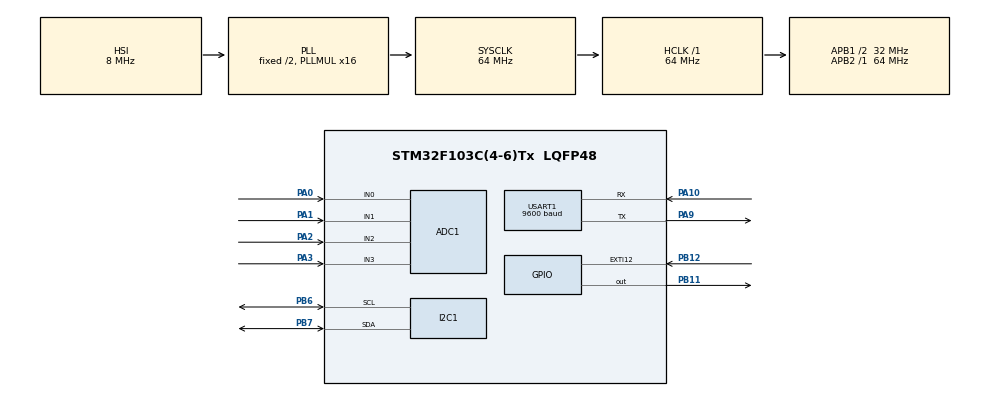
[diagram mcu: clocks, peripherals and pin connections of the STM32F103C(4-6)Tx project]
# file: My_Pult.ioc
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ADC1.Channel-4\#ChannelRegularConversion=ADC_CHANNEL_0
ADC1.Channel-5\#ChannelRegularConversion=ADC_CHANNEL_1
ADC1.Channel-6\#ChannelRegularConversion=ADC_CHANNEL_2
ADC1.Channel-7\#ChannelRegularConversion=ADC_CHANNEL_3
ADC1.ContinuousConvMode=DISABLE
ADC1.EnableAnalogWatchDog=false
ADC1.EnableRegularConversion=ENABLE
ADC1.ExternalTrigConv=ADC_SOFTWARE_START
ADC1.NbrOfConversion=4
ADC1.NbrOfConversionFlag=1
ADC1.Rank-4\#ChannelRegularConversion=1
ADC1.Rank-5\#ChannelRegularConversion=2
ADC1.Rank-6\#ChannelRegularConversion=3
ADC1.Rank-7\#ChannelRegularConversion=4
ADC1.SamplingTime-4\#ChannelRegularConversion=ADC_SAMPLETIME_55CYCLES_5
ADC1.SamplingTime-5\#ChannelRegularConversion=ADC_SAMPLETIME_55CYCLES_5
ADC1.SamplingTime-6\#ChannelRegularConversion=ADC_SAMPLETIME_55CYCLES_5
ADC1.SamplingTime-7\#ChannelRegularConversion=ADC_SAMPLETIME_55CYCLES_5
ADC1.master=1
Dma.ADC1.0.Direction=DMA_PERIPH_TO_MEMORY
Dma.ADC1.0.Instance=DMA1_Channel1
Dma.ADC1.0.MemDataAlignment=DMA_MDATAALIGN_HALFWORD
Dma.ADC1.0.MemInc=DMA_MINC_ENABLE
Dma.ADC1.0.Mode=DMA_NORMAL
Dma.ADC1.0.PeriphDataAlignment=DMA_PDATAALIGN_HALFWORD
Dma.ADC1.0.PeriphInc=DMA_PINC_DISABLE
Dma.ADC1.0.Priority=DMA_PRIORITY_LOW
Dma.Request0=ADC1
Dma.Request1=USART1_RX
Dma.Request2=USART1_TX
Dma.USART1_RX.1.Direction=DMA_PERIPH_TO_MEMORY
Dma.USART1_RX.1.Instance=DMA1_Channel5
Dma.USART1_RX.1.MemDataAlignment=DMA_MDATAALIGN_BYTE
Dma.USART1_RX.1.MemInc=DMA_MINC_ENABLE
Dma.USART1_RX.1.Mode=DMA_NORMAL
Dma.USART1_RX.1.PeriphDataAlignment=DMA_PDATAALIGN_BYTE
Dma.USART1_RX.1.PeriphInc=DMA_PINC_DISABLE
Dma.USART1_RX.1.Priority=DMA_PRIORITY_LOW
Dma.USART1_TX.2.Direction=DMA_MEMORY_TO_PERIPH
Dma.USART1_TX.2.Instance=DMA1_Channel4
Dma.USART1_TX.2.MemDataAlignment=DMA_MDATAALIGN_BYTE
Dma.USART1_TX.2.MemInc=DMA_MINC_ENABLE
Dma.USART1_TX.2.Mode=DMA_NORMAL
Dma.USART1_TX.2.PeriphDataAlignment=DMA_PDATAALIGN_BYTE
Dma.USART1_TX.2.PeriphInc=DMA_PINC_DISABLE
Dma.USART1_TX.2.Priority=DMA_PRIORITY_LOW
I2C1.I2C_Mode=I2C_Fast
Mcu.Family=STM32F1
Mcu.Name=STM32F103C(4-6)Tx
Mcu.Package=LQFP48
NVIC.DMA1_Channel1_IRQn=true\:0\:0\:true\:false\:true\:false\:true
NVIC.DMA1_Channel4_IRQn=true\:0\:0\:false\:false\:true\:false\:true
NVIC.DMA1_Channel5_IRQn=true\:0\:0\:false\:false\:true\:false\:true
NVIC.EXTI15_10_IRQn=true\:0\:0\:false\:false\:true\:true\:true
NVIC.PriorityGroup=NVIC_PRIORITYGROUP_4
NVIC.TIM3_IRQn=true\:0\:0\:true\:false\:true\:true\:true
NVIC.USART1_IRQn=true\:5\:0\:true\:false\:true\:true\:true
PA0-WKUP.Signal=ADCx_IN0
PA1.Signal=ADCx_IN1
PA10.Mode=Asynchronous
PA10.Signal=USART1_RX
PA13.Mode=Serial_Wire
PA13.Signal=SYS_JTMS-SWDIO
PA14.Mode=Serial_Wire
PA14.Signal=SYS_JTCK-SWCLK
PA2.Signal=ADCx_IN2
PA3.Signal=ADCx_IN3
PA9.Mode=Asynchronous
PA9.Signal=USART1_TX
PB11.GPIO_ModeDefaultOutputPP=GPIO_MODE_OUTPUT_PP
PB11.GPIO_PuPd=GPIO_PULLUP
PB11.PinState=GPIO_PIN_SET
PB11.Signal=GPIO_Output
PB12.GPIO_ModeDefaultEXTI=GPIO_MODE_IT_FALLING
PB12.GPIO_PuPd=GPIO_PULLUP
PB12.Signal=GPXTI12
PB6.Mode=I2C
PB6.Signal=I2C1_SCL
PB7.Mode=I2C
PB7.Signal=I2C1_SDA
ProjectManager.HeapSize=0x200
ProjectManager.StackSize=0x400
ProjectManager.TargetToolchain=STM32CubeIDE
RCC.ADCPresc=RCC_ADCPCLK2_DIV8
RCC.AHBFreq_Value=64000000
RCC.APB1CLKDivider=RCC_HCLK_DIV2
RCC.APB1Freq_Value=32000000
RCC.APB1TimFreq_Value=64000000
RCC.APB2Freq_Value=64000000
RCC.APB2TimFreq_Value=64000000
RCC.HCLKFreq_Value=64000000
RCC.PLLMUL=RCC_PLL_MUL16
RCC.SYSCLKFreq_VALUE=64000000
RCC.SYSCLKSource=RCC_SYSCLKSOURCE_PLLCLK
RCC.USBFreq_Value=64000000
SH.ADCx_IN0.0=ADC1_IN0,IN0
SH.ADCx_IN1.0=ADC1_IN1,IN1
SH.ADCx_IN2.0=ADC1_IN2,IN2
SH.ADCx_IN3.0=ADC1_IN3,IN3
TIM3.Period=100
TIM3.Prescaler=64000
TIM3.TIM_MasterOutputTrigger=TIM_TRGO_UPDATE
USART1.BaudRate=9600
USART1.VirtualMode=VM_ASYNC
VP_CRC_VS_CRC.Mode=CRC_Activate
VP_TIM3_VS_ClockSourceINT.Mode=Internal
board=custom

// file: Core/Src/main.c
/* USER CODE BEGIN Header */
/**
 ******************************************************************************
 * @file           : main.c
 * @brief          : Main program body
 ******************************************************************************
 * @attention
 *
 * <h2><center>&copy; Copyright (c) 2022 STMicroelectronics.
 * All rights reserved.</center></h2>
 *
 * This software component is licensed by ST under BSD 3-Clause license,
 * the "License"; You may not use this file except in compliance with the
 * License. You may obtain a copy of the License at:
 *                        opensource.org/licenses/BSD-3-Clause
 *
 ******************************************************************************
 */
/* USER CODE END Header */
#include "main.h"
#include "adc.h"
#include "crc.h"
#include "dma.h"
#include "i2c.h"
#include "tim.h"
#include "usart.h"
#include "gpio.h"

/* USER CODE BEGIN PD */
#define max_adc 4095

#define adress_master_device 0x20
#define adress_pult 0x20
#define adress_uaz 0x40
#define adress_ship 0x60
#define adress_WG_golf 0x80

#define adress_ADC 0x96
#define adress_Display 0xA0
#define adress_hc_12 0xAA
#define adress_LED 0xB4
#define adress_engine 0xBE
#define adress_Servo 0xC8

#define adress_slave_index 0
#define adress_master_index 1
#define crc_adress_devices 2
#define end_array_index 50

/* USER CODE END PD */

void SystemClock_Config(void);

/* USER CODE BEGIN 0 */
uint8_t transmitBuff[end_array_index] = { };
uint8_t reciveBuff[end_array_index] = { };
uint8_t adress_slave_device = 0;
uint16_t SticPosADC[4] = { };
uint8_t position[4] = { };
//position [0] - лев. стик, вертикаль,
//[1] - направление движенияпо вертикали, 0 стоим на месте, 1- вперед,  2 назад.
//[2] - правый стик, горизонталь.
//[3] - направление поворота руля, 0 среднее положение (прямо), 1 направо, 2 налево.

uint8_t LED_Arr[8][3] = { { 0, 0, 0 },    	//Черный:)
		{ 250, 250, 250 },  //Белый
		{ 250, 0, 250 },  	//Розовый
		{ 250, 0, 0 },    	//Красный
		{ 250, 250, 0 }, 	 //Желтый
		{ 0, 250, 0 },   	 //Зеленый
		{ 0, 250, 250 }, 	 //Аква
		{ 0, 0, 250 } };  	 //Синий

struct {
	volatile uint8_t timerEvent;
	volatile uint8_t adcDone;
	volatile uint8_t dataReady;
	volatile uint8_t rxReady;
	volatile uint8_t txReady;
	volatile uint8_t txSize;
	volatile uint8_t rxSize;
	volatile uint8_t contact;
	volatile uint8_t counterError;
	volatile uint8_t Led;
	volatile uint8_t LedColorChange;
	volatile uint8_t indexTransmitLed;

} flagEvent;

volatile uint8_t flag_irq = 0;
volatile uint32_t time_irq = 0;  //дребезг

uint8_t crc(uint8_t *pData, uint8_t size) {
	uint16_t crc = 0;
	for (uint8_t i = 0; i < size; i++) {
		crc = crc + (pData[i] * 44111);
	}
	return (uint8_t) crc;

}

void transmit(void) {
	flagEvent.dataReady = 1;
}

void cleanTxArr(uint8_t adress_slave_device) {
	for (uint8_t i = 0; i < end_array_index; i++) {
		transmitBuff[i] = 0xFF; // код стоп байта
	}
	transmitBuff[adress_slave_index] = adress_slave_device;
	transmitBuff[adress_master_index] = adress_master_device;

	transmitBuff[crc_adress_devices] = crc(transmitBuff, 2);    //crc коментарий для примера комита

}

void clearRxBuff(void) {
	for (uint8_t i = 0; i < end_array_index; i++) {
		reciveBuff[i] = 0xFF; // код стоп байта
	}
}

void initPult(void) {
	flagEvent.timerEvent = 0;
	flagEvent.adcDone = 0;
	flagEvent.dataReady = 0;
	flagEvent.rxReady = 0;
	flagEvent.txReady = 0;
	flagEvent.rxSize = 0;
	flagEvent.contact = 0;
	flagEvent.counterError = 0;
	flagEvent.Led = 0;
	flagEvent.txSize = 0;
	flagEvent.LedColorChange = 0;
	flagEvent.indexTransmitLed = 0;

	HAL_ADCEx_Calibration_Start(&hadc1);			// калибровка ацп

	//HAL_UART_Receive_DMA(&huart1, reciveBuff, 5);
	HAL_UARTEx_ReceiveToIdle_DMA(&huart1, reciveBuff, sizeof(reciveBuff));
}

void updateTimerEvent(void) {
	HAL_ADC_Start_DMA(&hadc1, (uint32_t*) SticPosADC, 4);
}

void normalizeSticValue(void) {

	/////////////////////////////////////////////////////////////////////// Вперед
	if (SticPosADC[1] < 700) {
		position[0] = 100;
		position[1] = 1;
	}
	if (SticPosADC[1] < 1400 && SticPosADC[1] > 700) {
		position[0] = 65;
		position[1] = 1;
	}

	if (SticPosADC[1] < 1800 && SticPosADC[1] > 1400) {
		position[0] = 30;
		position[1] = 1;
	}

	////////////////////////////////////////////////////////////////////////////////// назад

	if (SticPosADC[1] > 2200) {
		position[0] = 50;
		position[1] = 2;
	}

	/////////////////////////////////////////////////////////////////////////////////////// на месте

	if (SticPosADC[1] > 1800 && SticPosADC[1] < 2200) {
		position[0] = 0;
		position[1] = 0;
	}
	///////////////////////////////////////////////////////////////////////////////

	/////////////////////////////////////////////////////////////////////// Направо
	if (SticPosADC[2] < 700) {
		position[2] = 75;
		position[3] = 1;
	}
	if (SticPosADC[2] < 1400 && SticPosADC[2] > 700) {
		position[2] = 50;
		position[3] = 1;
	}

	if (SticPosADC[2] < 1800 && SticPosADC[2] > 1400) {
		position[2] = 20;
		position[3] = 1;
	}

	////////////////////////////////////////////////////////////////////////////////// НАлево

	if (SticPosADC[2] > 2200 && SticPosADC[2] < 3100) {
		position[2] = 20;
		position[3] = 2;
	}

	if (SticPosADC[2] > 3100 && SticPosADC[2] < 3800) {
		position[2] = 65;
		position[3] = 2;
	}

	if (SticPosADC[2] > 3800) {
		position[2] = 100;
		position[3] = 2;
	}

	/////////////////////////////////////////////////////////////////////////////////////// на месте

	if (SticPosADC[2] > 1800 && SticPosADC[2] < 2200) {
		position[2] = 0;
		position[3] = 0;
	}
	////////////////////////////////////////////////////////////////////////////////////////

}

uint8_t pushArrTX(uint8_t addres_module, uint8_t *pData, uint8_t size,
		uint8_t typeOperation) {
	uint8_t i = 0;
	while (transmitBuff[i] != 0xFF) { // найти конец полезных данных, не выходя за пределы массива.
		if (i < (end_array_index - (size + 5))) { //5 = адрес модуля, тип операции, crc, байт конца команды, стоп.
			i++;
		} else {
			return 1;
		}
	}
	if (i != 3) {
		i--;
	}
	transmitBuff[i] = addres_module;
	i++;
	transmitBuff[i] = typeOperation;
	i++;

	for (uint8_t index = i; index < (i + size); index++) {
		transmitBuff[index] = pData[index - i];
	}

	transmitBuff[i + size] = crc(transmitBuff + (i - 2), size + 2); // crc адреса и команды   2 = смещение назад для адреса модуля и типа команды.
	transmitBuff[i + size + 1] = 0xFC;  // конец команды
	transmitBuff[i + size + 2] = crc(transmitBuff, i + size + 2); // хеш отправки

	transmitBuff[i + size + 3] = 0xFF;  // стоп байт

	i = i + (size + 3) + 1;
	return i;

}

void connect_ok(void) {
	uint8_t ok = 0xc8;
	flagEvent.txSize = pushArrTX(adress_hc_12, &ok, 1, 1); // можно пересылать настройки, которые были сделаны на пульте до коннекта слейва.
	transmit();

}

void parseArrRX(uint8_t *pData, uint8_t size) {

	if (reciveBuff[flagEvent.rxSize - 2]
			== crc(reciveBuff, flagEvent.rxSize - 2)) {   //хеш сумма совпала
		if (flagEvent.contact == 0) { //если это приветствие
			if (reciveBuff[3] == adress_hc_12) {
				if (reciveBuff[5] == 0xc8) {
					adress_slave_device = reciveBuff[0];
					flagEvent.contact = 1;
					__HAL_TIM_CLEAR_FLAG(&htim3, TIM_SR_UIF); 	// очищаем флаг
					HAL_TIM_Base_Start_IT(&htim3); 		//Включаем прерывание
					cleanTxArr(adress_slave_device);
					connect_ok();
				}
			}
		}

		if (flagEvent.contact == 1) {					//если уже поздоровались
			if (reciveBuff[3] != 0x64) {//если слейв сообщил о принятии битого хеша
				flagEvent.counterError++;
			}
		}
	}

	if (reciveBuff[flagEvent.rxSize - 2]
			!= crc(reciveBuff, flagEvent.rxSize - 2)) {
	}   //хеш сумма не совпала

}

/* USER CODE END 0 */

int main(void) {

	/* MCU Configuration--------------------------------------------------------*/

	/* Reset of all peripherals, Initializes the Flash interface and the Systick. */
	HAL_Init();

	/* Configure the system clock */
	SystemClock_Config();

	/* Initialize all configured peripherals */
	MX_GPIO_Init();
	MX_DMA_Init();
	MX_ADC1_Init();
	MX_I2C1_Init();
	MX_USART1_UART_Init();
	MX_TIM3_Init();
	MX_CRC_Init();
	/* USER CODE BEGIN 2 */
	initPult();

	/* USER CODE END 2 */

	/* Infinite loop */
	while (1) {

		/* USER CODE BEGIN 3 */
		//if (flagEvent.LedColorChange == 1) {
		//	flagEvent.LedColorChange = 0;
		//}
		if (flagEvent.rxReady == 1) {
			flagEvent.rxReady = 0;
			parseArrRX(reciveBuff, flagEvent.rxSize);
			clearRxBuff();
			HAL_UARTEx_ReceiveToIdle_DMA(&huart1, reciveBuff,
					sizeof(reciveBuff));
		}

		if (flagEvent.timerEvent == 1) {
			flagEvent.timerEvent = 0;
			updateTimerEvent();
		}

		if (flagEvent.adcDone == 1) {
			flagEvent.adcDone = 0;
			normalizeSticValue();
			flagEvent.txSize = pushArrTX(adress_engine, position, 2, 1); // заполнили массив данными для отправки
			flagEvent.txSize = pushArrTX(adress_Servo, position + 0x02, 2, 1);
			flagEvent.txSize = pushArrTX(adress_LED, LED_Arr[flagEvent.Led], 3,
					1);
			flagEvent.dataReady = 1;
		}

		if (flagEvent.dataReady == 1) {
			flagEvent.dataReady = 0;
			HAL_UART_Transmit(&huart1, transmitBuff, flagEvent.txSize, 100); // нужно по дма, в прервыании дма по окаончании отправки стирать transmitBuff
			flagEvent.txSize = 0;
			cleanTxArr(adress_slave_device);

		}

		if (flag_irq && (HAL_GetTick() - time_irq) > 200) {
			__HAL_GPIO_EXTI_CLEAR_IT(GPIO_PIN_12);  // очищаем бит EXTI_PR
			NVIC_ClearPendingIRQ(EXTI15_10_IRQn); // очищаем бит NVIC_ICPRx
			HAL_NVIC_EnableIRQ(EXTI15_10_IRQn);   // включаем внешнее прерывание

			flag_irq = 0;
		}

	}
	/* USER CODE END 3 */
}

void SystemClock_Config(void) {
	RCC_OscInitTypeDef RCC_OscInitStruct = { 0 };
	RCC_ClkInitTypeDef RCC_ClkInitStruct = { 0 };
	RCC_PeriphCLKInitTypeDef PeriphClkInit = { 0 };

	/** Initializes the RCC Oscillators according to the specified parameters
	 * in the RCC_OscInitTypeDef structure.
	 */
	RCC_OscInitStruct.OscillatorType = RCC_OSCILLATORTYPE_HSI;
	RCC_OscInitStruct.HSIState = RCC_HSI_ON;
	RCC_OscInitStruct.HSICalibrationValue = RCC_HSICALIBRATION_DEFAULT;
	RCC_OscInitStruct.PLL.PLLState = RCC_PLL_ON;
	RCC_OscInitStruct.PLL.PLLSource = RCC_PLLSOURCE_HSI_DIV2;
	RCC_OscInitStruct.PLL.PLLMUL = RCC_PLL_MUL16;
	if (HAL_RCC_OscConfig(&RCC_OscInitStruct) != HAL_OK) {
		Error_Handler();
	}
	/** Initializes the CPU, AHB and APB buses clocks
	 */
	RCC_ClkInitStruct.ClockType = RCC_CLOCKTYPE_HCLK | RCC_CLOCKTYPE_SYSCLK
			| RCC_CLOCKTYPE_PCLK1 | RCC_CLOCKTYPE_PCLK2;
	RCC_ClkInitStruct.SYSCLKSource = RCC_SYSCLKSOURCE_PLLCLK;
	RCC_ClkInitStruct.AHBCLKDivider = RCC_SYSCLK_DIV1;
	RCC_ClkInitStruct.APB1CLKDivider = RCC_HCLK_DIV2;
	RCC_ClkInitStruct.APB2CLKDivider = RCC_HCLK_DIV1;

	if (HAL_RCC_ClockConfig(&RCC_ClkInitStruct, FLASH_LATENCY_2) != HAL_OK) {
		Error_Handler();
	}
	PeriphClkInit.PeriphClockSelection = RCC_PERIPHCLK_ADC;
	PeriphClkInit.AdcClockSelection = RCC_ADCPCLK2_DIV8;
	if (HAL_RCCEx_PeriphCLKConfig(&PeriphClkInit) != HAL_OK) {
		Error_Handler();
	}
}

/* USER CODE BEGIN 4 */
//==============================================================================================================
void ADC1_IRQHandler(void) {
	/* USER CODE BEGIN ADC1_2_IRQn 0 */

	/* USER CODE END ADC1_2_IRQn 0 */
	HAL_ADC_IRQHandler(&hadc1);
	/* USER CODE BEGIN ADC1_2_IRQn 1 */

	/* USER CODE END ADC1_2_IRQn 1 */
}

void HAL_TIM_PeriodElapsedCallback(TIM_HandleTypeDef *htim) {
	if (htim->Instance == TIM3) {
		flagEvent.timerEvent = 1;

	}
}

void HAL_ADC_ConvCpltCallback(ADC_HandleTypeDef *hadc) {
	flagEvent.adcDone = 1;
}

void HAL_UARTEx_RxEventCallback(UART_HandleTypeDef *huart, uint16_t Size) {
	flagEvent.rxReady = 1;
	flagEvent.rxSize = Size;
}

void HAL_GPIO_EXTI_Callback(uint16_t GPIO_Pin) {

	if (GPIO_Pin == GPIO_PIN_12) {
		HAL_NVIC_DisableIRQ(EXTI15_10_IRQn); // сразу же отключаем прерывания на этом пине
		// либо выполняем какое-то действие прямо тут, либо поднимаем флажок
		flagEvent.Led++;
		if (flagEvent.Led >= 9) {
			flagEvent.Led = 0;
		}
		flag_irq = 1;
		time_irq = HAL_GetTick();
	}

	//__HAL_GPIO_EXTI_CLEAR_IT(GPIO_Pin);
}

//==============================================================================================================
/* USER CODE END 4 */

void Error_Handler(void) {
	__disable_irq();
	while (1) {
	}
}

/************************ (C) COPYRIGHT STMicroelectronics *****END OF FILE****/
